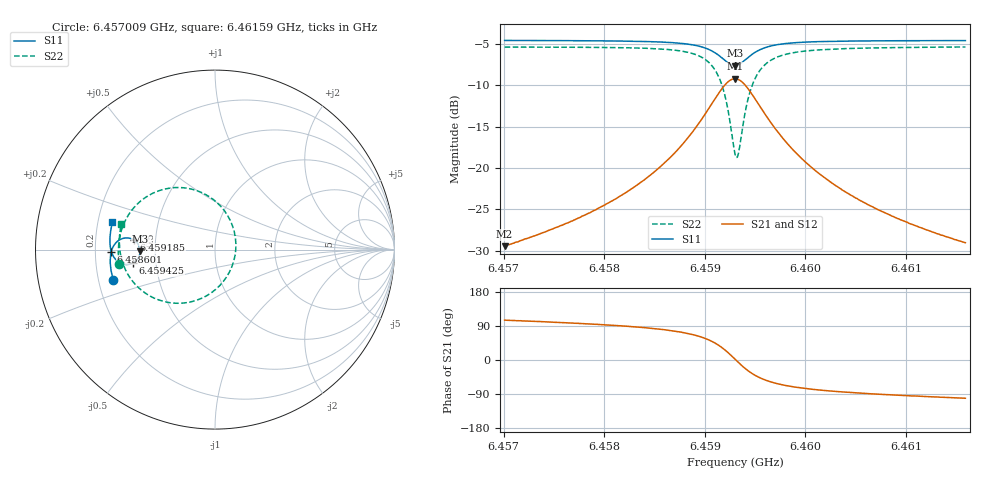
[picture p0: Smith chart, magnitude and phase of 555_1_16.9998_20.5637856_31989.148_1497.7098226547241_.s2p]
#  HZ  S  RI  R  50.00
! Rohde & Schwarz Vector Network Analyzer
! Rohde-Schwarz,ZNB20-2Port,1311601062101988,3.16
! Created: UTC 3/20/2024, 11:16:57 PM
! freq[Hz]  re:S11  im:S11  re:S21  im:S21  re:S12  im:S12  re:S22  im:S22
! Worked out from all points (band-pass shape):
!   401 points, 6.457009 GHz to 6.46159 GHz, reference 50 ohm
!   highest |S21| = -9.18 dB at 6.4593 GHz (marker M1); lowest = -29.5 dB at 6.457009 GHz (marker M2)
!   |S21| within 3 dB of the highest: 6.459071 GHz to 6.459529 GHz (457.9 kHz wide, 0.00709 % of centre)
!   lowest |S11| = -7.6 dB at 6.4593 GHz (marker M3), VSWR 2.43, Z = 20.6 - j0.445 ohm
!   |S11| at or under -10 dB: nowhere
!   |S22| runs from -18.7 to -5.3 dB; largest |S21 - S12| = 0.014
!   S11 on the Smith chart (normalised r, x): 6.457009 GHz: 0.26, -0.14; 6.458601 GHz: 0.27, -0.01; 6.459185 GHz: 0.37, +0.05; 6.459425 GHz: 0.37, -0.07; 6.46159 GHz: 0.26, +0.12
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6.4570093e9  -0.5674 -0.1698  -0.00884 0.0325  -0.00704 0.0327  -0.5333 -0.082
6.4577765e9  -0.5811 -0.1025  -0.00547 0.0508  -0.00281 0.05  -0.5383 0.00833
6.4582231e9  -0.5838 -0.0574  0.00114 0.0716  0.00453 0.0702  -0.5288 0.08
6.4585437e9  -0.5798 -0.0188  0.0147 0.0992  0.0187 0.0964  -0.5039 0.1537
6.458601e9  -0.578 -0.0109  0.0191 0.106  0.0231 0.103  -0.4955 0.1703
6.4588071e9  -0.5647 0.0212  0.0469 0.1386  0.051 0.1336  -0.4434 0.2428
6.458956e9  -0.5421 0.0475  0.0923 0.1691  0.0956 0.1624  -0.3592 0.3075
6.4590934e9  -0.498 0.0648  0.18 0.1854  0.1809 0.1781  -0.1988 0.3457
6.459185e9  -0.4532 0.0544  0.2703 0.1538  0.2705 0.1479  -0.0313 0.2944
6.4592537e9  -0.4241 0.0222  0.331 0.0814  0.3332 0.0761  0.0844 0.1636
6.4592995e9  -0.4173 -0.00893  0.3472 0.013  0.3508 0.00607  0.1163 0.0356
6.459311e9  -0.4177 -0.017  0.3471 -0.00476  0.3509 -0.0124  0.1159 0.00167
6.4593339e9  -0.4213 -0.0327  0.3412 -0.0397  0.3452 -0.0489  0.1045 -0.0644
6.4593797e9  -0.437 -0.059  0.3123 -0.0998  0.3146 -0.1119  0.0458 -0.1781
6.4594255e9  -0.4591 -0.0752  0.27 -0.1409  0.2692 -0.1544  -0.04 -0.2534
6.4595171e9  -0.5028 -0.0821  0.1845 -0.172  0.1783 -0.1836  -0.2103 -0.299
6.459666e9  -0.5468 -0.0616  0.0962 -0.1578  0.0877 -0.164  -0.3791 -0.2486
6.4598377e9  -0.5693 -0.0319  0.0491 -0.1277  0.0414 -0.1302  -0.4632 -0.171
6.4600668e9  -0.581 0.00175  0.0221 -0.0978  0.0162 -0.0983  -0.5075 -0.0928
6.4603874e9  -0.5854 0.0402  0.00678 -0.0721  0.00256 -0.0717  -0.528 -0.0175
6.460834e9  -0.5835 0.0854  -0.00153 -0.0521  -0.00448 -0.0513  -0.5327 0.055
6.4615898e9  -0.5713 0.1524  -0.00673 -0.0347  -0.00832 -0.0337  -0.5212 0.1447
